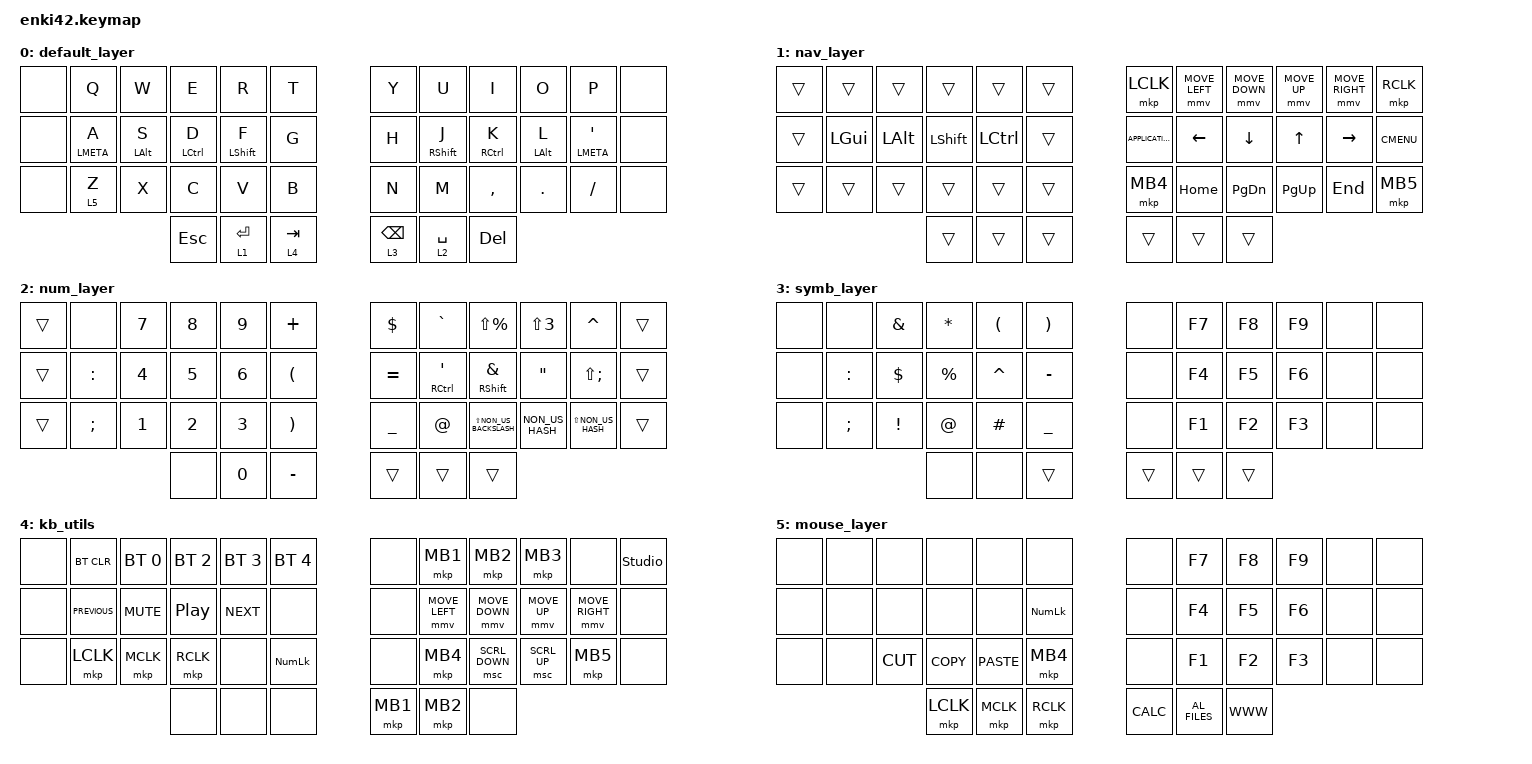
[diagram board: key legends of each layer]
/*
 * Copyright (c) 2020 The ZMK Contributors
 *
 * SPDX-License-Identifier: MIT
 */


#define ZMK_POINTING_DEFAULT_MOVE_VAL 800  // default: 600
#define ZMK_POINTING_DEFAULT_SCRL_VAL 20    // default: 10

#include <zmk-helpers/key-labels/42.h>
#include <behaviors.dtsi>
#include <dt-bindings/zmk/bt.h>
#include <dt-bindings/zmk/keys.h>
#include <dt-bindings/zmk/pointing.h>

&sk {
    release-after-ms = <1000>;
    quick-release;
    lazy;
    ignore-modifiers;
};

&mmv {
    acceleration-exponent = <1>;          // 1
    time-to-max-speed-ms = <500>;         // 300
    delay-ms = <0>;                       // 0
};

&lt {
    tapping-term-ms = <200>; // default 200
    flavor = "balanced"; // or hold-preferred or tap-preferred
    quick-tap-ms = <150>;
};

/ {
    combos {
        compatible = "zmk,combos";

        caps_word {
            bindings = <&caps_word>;
            key-positions = <17 18>;
            layers = <0>;
        };

        vol_up {
            bindings = <&kp C_VOLUME_UP>;
            key-positions = <11 23>;
            layers = <0>;
        };

        combo_vol_down {
            bindings = <&kp C_VOLUME_DOWN>;
            key-positions = <23 35>;
            layers = <0>;
        };

        combo_CAPS_LOCK {
            bindings = <&kp CAPSLOCK>;
            key-positions = <5 6>;
            layers = <0>;
        };

    };

    macros {
        arrow_func: arrow_func {
            compatible = "zmk,behavior-macro";
            #binding-cells = <0>;
            bindings = <&kp EQUAL &kp GT>, <&macro_press>;

            label = "ARROW_FUNC";
        };

        emdsh: emdsh {
            compatible = "zmk,behavior-macro";
            #binding-cells = <0>;
            bindings =
                <&kp SPACE &kp MINUS &kp MINUS &kp SPACE>,
                <&macro_press>;

            label = "EMDSH";
        };
    };

    behaviors {
        bhm: balanced_homerow_mods {
            compatible = "zmk,behavior-hold-tap";
            #binding-cells = <2>;
            tapping-term-ms = <200>;    // <---[[moderate duration]]
            quick-tap-ms = <0>;
            flavor = "balanced";
            bindings = <&kp>, <&kp>;
        };

        arrow_func_tap: arrow_func_tap {
            compatible = "zmk,behavior-tap-dance";
            label = "ARROW_FUNC_TAP";
            #binding-cells = <0>;
            bindings = <&kp GREATER_THAN>, <&arrow_func>;
        };

        underspace: underspace {
            compatible = "zmk,behavior-mod-morph";
            label = "UNDERSPACE";
            bindings = <&lt 1 SPACE>, <&kp UNDER>;

            #binding-cells = <0>;
            mods = <(MOD_RSFT)>;
        };
    };

    keymap {
        compatible = "zmk,keymap";

        default_layer {
            // -----------------------------------------------------------------------------------------
            // |  TAB |  Q  |  W  |  E  |  R  |  T  |   |  Y  |  U   |  I  |  O  |  P  | BSPC |
            // | CTRL |  A  |  S  |  D  |  F  |  G  |   |  H  |  J   |  K  |  L  |  ;  |  '   |
            // | SHFT |  Z  |  X  |  C  |  V  |  B  |   |  N  |  M   |  ,  |  .  |  /  | ESC  |
            //                    | GUI | LWR | SPC |   | ENT | RSE  | ALT |

            bindings = <
&none      &kp Q         &kp W            &kp E         &kp R              &kp T        &kp Y            &kp U               &kp I         &kp O            &kp P             &none
&none      &bhm LMETA A  &bhm LEFT_ALT S  &bhm LCTRL D  &bhm LEFT_SHIFT F  &kp G        &kp H            &bhm RIGHT_SHIFT J  &bhm RCTRL K  &bhm LEFT_ALT L  &bhm LMETA APOS   &none
&none      &lt 5 Z       &kp X            &kp C         &kp V              &kp B        &kp N            &kp M               &kp COMMA     &kp DOT          &kp FSLH          &none
                                          &kp ESC       &lt 1 RET          &lt 4 TAB    &lt 3 BACKSPACE  &lt 2 SPACE         &kp DELETE
            >;
        };

        nav_layer {
            bindings = <
&trans  &trans    &trans    &trans          &trans            &trans    &mkp LCLK          &mmv MOVE_LEFT  &mmv MOVE_DOWN  &mmv MOVE_UP  &mmv MOVE_RIGHT  &mkp RCLK
&trans  &kp LGUI  &kp LALT  &kp LEFT_SHIFT  &kp LEFT_CONTROL  &trans    &kp K_APPLICATION  &kp LEFT        &kp DOWN_ARROW  &kp UP_ARROW  &kp RIGHT        &kp K_CMENU
&trans  &trans    &trans    &trans          &trans            &trans    &mkp MB4           &kp HOME        &kp PAGE_DOWN   &kp PG_UP     &kp END          &mkp MB5
                            &trans          &trans            &trans    &trans             &trans          &trans
            >;
        };

        num_layer {
            bindings = <
&trans  &none        &kp N7     &kp N8    &kp N9       &kp PLUS               &kp DOLLAR      &kp GRAVE                &kp LS(PERCENT)             &kp LS(NUMBER_3)   &kp CARET            &trans
&trans  &kp COLON    &kp N4     &kp N5    &kp N6       &kp LPAR               &kp EQUAL       &bhm RCTRL SINGLE_QUOTE  &bhm RIGHT_SHIFT AMPERSAND  &kp DOUBLE_QUOTES  &kp LS(SEMICOLON)    &trans
&trans  &kp SEMI     &kp N1     &kp N2    &kp N3       &kp RPAR               &kp UNDERSCORE  &kp AT_SIGN              &kp LS(NON_US_BACKSLASH)    &kp NON_US_HASH    &kp LS(NON_US_HASH)  &trans
                                &none     &kp N0       &kp MINUS              &trans          &trans                   &trans
            >;
        };

        symb_layer {
            bindings = <
&none   &none       &kp AMPS   &kp ASTRK   &kp LPAR    &kp RPAR        &none      &kp F7         &kp F8      &kp F9      &none      &none
&none   &kp COLON   &kp DLLR   &kp PRCNT   &kp CARET   &kp MINUS       &none      &kp F4         &kp F5      &kp F6      &none      &none
&none   &kp SEMI    &kp EXCL   &kp AT      &kp POUND   &kp UNDER       &none      &kp F1         &kp F2      &kp F3      &none      &none
                    &none      &none       &trans                      &trans     &trans         &trans
            >;
        };

        kb_utils {
            bindings = <
&none        &bt BT_CLR      &bt BT_SEL 0  &bt BT_SEL 2      &bt BT_SEL 3  &bt BT_SEL 4    &none     &mkp MB1        &mkp MB2        &mkp MB3      &none            &studio_unlock
&none        &kp C_PREVIOUS  &kp C_MUTE    &kp C_PLAY_PAUSE  &kp C_NEXT    &none           &none     &mmv MOVE_LEFT  &mmv MOVE_DOWN  &mmv MOVE_UP  &mmv MOVE_RIGHT  &none
&none        &mkp LCLK        &mkp MCLK    &mkp RCLK         &none         &kp KP_NUM      &none     &mkp MB4        &msc SCRL_DOWN  &msc SCRL_UP  &mkp MB5         &none
                                           &none             &none         &none           &mkp MB1  &mkp MB2        &none
            >;
        };


        mouse_layer{
            bindings = <
&none   &none       &none      &none       &none       &none           &none      &kp F7         &kp F8      &kp F9      &none      &none
&none   &none       &none      &none       &none       &kp KP_NUM      &none      &kp F4         &kp F5      &kp F6      &none      &none
&none   &none       &kp K_CUT  &kp K_COPY  &kp K_PASTE &mkp MB4        &none      &kp F1         &kp F2      &kp F3      &none      &none
                               &mkp LCLK   &mkp MCLK   &mkp RCLK       &kp K_CALC &kp C_AL_FILES &kp K_WWW
            >;
        };
    };

    conditional_layers { compatible = "zmk,conditional-layers"; };
};
